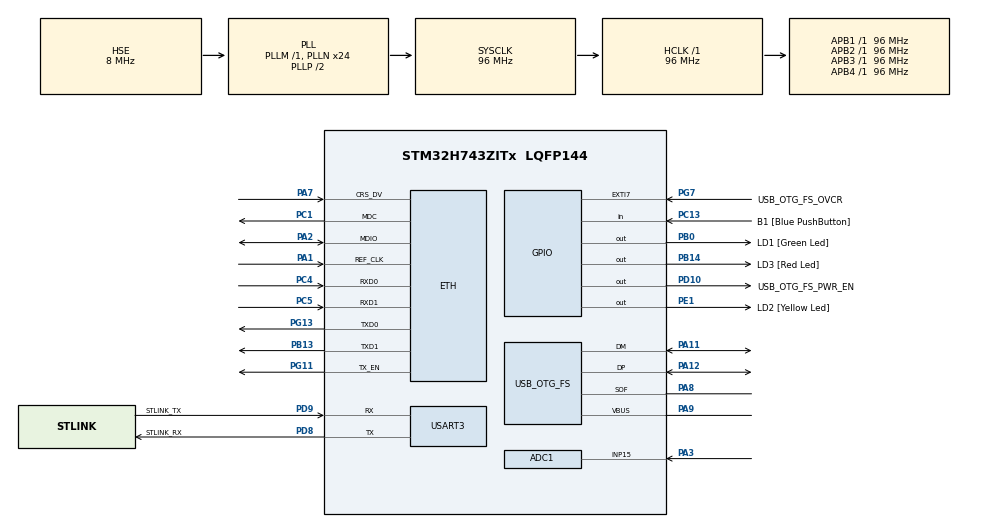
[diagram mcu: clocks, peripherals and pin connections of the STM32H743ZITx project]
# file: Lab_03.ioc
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ADC1.Channel-0\#ChannelRegularConversion=ADC_CHANNEL_15
ADC1.ConversionDataManagement=ADC_CONVERSIONDATA_DMA_ONESHOT
ADC1.ExternalTrigConv=ADC_EXTERNALTRIG_T1_TRGO
ADC1.NbrOfConversionFlag=1
ADC1.OffsetNumber-0\#ChannelRegularConversion=ADC_OFFSET_NONE
ADC1.OffsetSignedSaturation-0\#ChannelRegularConversion=DISABLE
ADC1.Rank-0\#ChannelRegularConversion=1
ADC1.SamplingTime-0\#ChannelRegularConversion=ADC_SAMPLETIME_1CYCLE_5
ADC1.master=1
Dma.ADC1.0.Direction=DMA_PERIPH_TO_MEMORY
Dma.ADC1.0.EventEnable=DISABLE
Dma.ADC1.0.FIFOMode=DMA_FIFOMODE_DISABLE
Dma.ADC1.0.Instance=DMA1_Stream0
Dma.ADC1.0.MemDataAlignment=DMA_MDATAALIGN_HALFWORD
Dma.ADC1.0.MemInc=DMA_MINC_ENABLE
Dma.ADC1.0.Mode=DMA_NORMAL
Dma.ADC1.0.PeriphDataAlignment=DMA_PDATAALIGN_HALFWORD
Dma.ADC1.0.PeriphInc=DMA_PINC_DISABLE
Dma.ADC1.0.Polarity=HAL_DMAMUX_REQ_GEN_RISING
Dma.ADC1.0.Priority=DMA_PRIORITY_LOW
Dma.ADC1.0.RequestNumber=1
Dma.ADC1.0.SignalID=NONE
Dma.ADC1.0.SyncEnable=DISABLE
Dma.ADC1.0.SyncPolarity=HAL_DMAMUX_SYNC_NO_EVENT
Dma.ADC1.0.SyncRequestNumber=1
Dma.ADC1.0.SyncSignalID=NONE
Dma.Request0=ADC1
ETH.MediaInterface=HAL_ETH_RMII_MODE
Mcu.Family=STM32H7
Mcu.Name=STM32H743ZITx
Mcu.Package=LQFP144
NVIC.DMA1_Stream0_IRQn=true\:0\:0\:false\:false\:true\:false\:true
NVIC.PriorityGroup=NVIC_PRIORITYGROUP_4
PA1.Mode=RMII
PA1.Signal=ETH_REF_CLK
PA11.Mode=Device_Only
PA11.Signal=USB_OTG_FS_DM
PA12.Mode=Device_Only
PA12.Signal=USB_OTG_FS_DP
PA2.Mode=RMII
PA2.Signal=ETH_MDIO
PA3.Signal=ADCx_INP15
PA7.Mode=RMII
PA7.Signal=ETH_CRS_DV
PA8.Mode=Activate_SOF_FS
PA8.Signal=USB_OTG_FS_SOF
PA9.Mode=Activate_VBUS
PA9.Signal=USB_OTG_FS_VBUS
PB0.GPIO_Label=LD1 [Green Led]
PB0.Signal=GPIO_Output
PB13.Mode=RMII
PB13.Signal=ETH_TXD1
PB14.GPIO_Label=LD3 [Red Led]
PB14.Signal=GPIO_Output
PC1.Mode=RMII
PC1.Signal=ETH_MDC
PC13.GPIO_Label=B1 [Blue PushButton]
PC13.Signal=GPIO_Input
PC14-OSC32_IN\ (OSC32_IN).Mode=LSE-External-Oscillator
PC14-OSC32_IN\ (OSC32_IN).Signal=RCC_OSC32_IN
PC15-OSC32_OUT\ (OSC32_OUT).Mode=LSE-External-Oscillator
PC15-OSC32_OUT\ (OSC32_OUT).Signal=RCC_OSC32_OUT
PC4.Mode=RMII
PC4.Signal=ETH_RXD0
PC5.Mode=RMII
PC5.Signal=ETH_RXD1
PD10.GPIO_Label=USB_OTG_FS_PWR_EN
PD10.Signal=GPIO_Output
PD8.GPIO_Label=STLINK_RX
PD8.Mode=Asynchronous
PD8.Signal=USART3_TX
PD9.GPIO_Label=STLINK_TX
PD9.Mode=Asynchronous
PD9.Signal=USART3_RX
PE1.GPIO_Label=LD2 [Yellow Led]
PE1.Signal=GPIO_Output
PG11.Mode=RMII
PG11.Signal=ETH_TX_EN
PG13.Mode=RMII
PG13.Signal=ETH_TXD0
PG7.GPIO_Label=USB_OTG_FS_OVCR
PG7.Signal=GPXTI7
PH0-OSC_IN\ (PH0).Mode=HSE-External-Clock-Source
PH0-OSC_IN\ (PH0).Signal=RCC_OSC_IN
PH1-OSC_OUT\ (PH1).Signal=RCC_OSC_OUT
ProjectManager.HeapSize=0x200
ProjectManager.StackSize=0x400
ProjectManager.TargetToolchain=STM32CubeIDE
RCC.ADCFreq_Value=50666666.666666664
RCC.APB1Freq_Value=96000000
RCC.APB2Freq_Value=96000000
RCC.APB3Freq_Value=96000000
RCC.APB4Freq_Value=96000000
RCC.CortexFreq_Value=96000000
RCC.DIVM1=1
RCC.DIVM2=1
RCC.DIVN1=24
RCC.DIVN2=19
RCC.DIVP2=3
RCC.DIVQ1=4
RCC.HCLKFreq_Value=96000000
RCC.HSE_VALUE=8000000
RCC.PLLFRACN=0
RCC.SYSCLKFreq_VALUE=96000000
RCC.SYSCLKSource=RCC_SYSCLKSOURCE_PLLCLK
RCC.USBFreq_Value=48000000
SH.ADCx_INP15.0=ADC1_INP15,IN15-Single-Ended
TIM1.Period=2000-1
TIM1.TIM_MasterOutputTrigger=TIM_TRGO_UPDATE
USART3.VirtualMode-Asynchronous=VM_ASYNC
USB_OTG_FS.VirtualMode=Device_Only
VP_TIM1_VS_ClockSourceINT.Mode=Internal
board=NUCLEO-H743ZI2

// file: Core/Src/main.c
/* USER CODE BEGIN Header */
/**
 ******************************************************************************
 * @file           : main.c
 * @brief          : Main program body
 ******************************************************************************
 * @attention
 *
 * <h2><center>&copy; Copyright (c) 2020 STMicroelectronics.
 * All rights reserved.</center></h2>
 *
 * This software component is licensed by ST under BSD 3-Clause license,
 * the "License"; You may not use this file except in compliance with the
 * License. You may obtain a copy of the License at:
 *                        opensource.org/licenses/BSD-3-Clause
 *
 ******************************************************************************
 */
/* USER CODE END Header */
#include <arm_math.h>
#include <stdio.h>
#include "main.h"
#include "string.h"
#include "math.h"

#if defined ( __ICCARM__ ) /*!< IAR Compiler */

#pragma location=0x30040000
ETH_DMADescTypeDef  DMARxDscrTab[ETH_RX_DESC_CNT]; /* Ethernet Rx DMA Descriptors */
#pragma location=0x30040060
ETH_DMADescTypeDef  DMATxDscrTab[ETH_TX_DESC_CNT]; /* Ethernet Tx DMA Descriptors */
#pragma location=0x30040200
uint8_t Rx_Buff[ETH_RX_DESC_CNT][ETH_MAX_PACKET_SIZE]; /* Ethernet Receive Buffers */

#elif defined ( __CC_ARM )  /* MDK ARM Compiler */

__attribute__((at(0x30040000))) ETH_DMADescTypeDef  DMARxDscrTab[ETH_RX_DESC_CNT]; /* Ethernet Rx DMA Descriptors */
__attribute__((at(0x30040060))) ETH_DMADescTypeDef  DMATxDscrTab[ETH_TX_DESC_CNT]; /* Ethernet Tx DMA Descriptors */
__attribute__((at(0x30040200))) uint8_t Rx_Buff[ETH_RX_DESC_CNT][ETH_MAX_PACKET_SIZE]; /* Ethernet Receive Buffer */

#elif defined ( __GNUC__ ) /* GNU Compiler */

ETH_DMADescTypeDef DMARxDscrTab[ETH_RX_DESC_CNT] __attribute__((section(".RxDecripSection"))); /* Ethernet Rx DMA Descriptors */
ETH_DMADescTypeDef DMATxDscrTab[ETH_TX_DESC_CNT] __attribute__((section(".TxDecripSection")));   /* Ethernet Tx DMA Descriptors */
uint8_t Rx_Buff[ETH_RX_DESC_CNT][ETH_MAX_PACKET_SIZE] __attribute__((section(".RxArraySection"))); /* Ethernet Receive Buffers */

#endif

ETH_TxPacketConfig TxConfig;
ADC_HandleTypeDef hadc1;
DMA_HandleTypeDef hdma_adc1;

ETH_HandleTypeDef heth;

TIM_HandleTypeDef htim1;

UART_HandleTypeDef huart3;

PCD_HandleTypeDef hpcd_USB_OTG_FS;

void SystemClock_Config(void);
static void MX_GPIO_Init(void);
static void MX_DMA_Init(void);
static void MX_ETH_Init(void);
static void MX_USART3_UART_Init(void);
static void MX_USB_OTG_FS_PCD_Init(void);
static void MX_ADC1_Init(void);
static void MX_TIM1_Init(void);
/* USER CODE BEGIN PFP */
void 				convert_to_complex(float input[64], float32_t* arr, int sample_length);
void 				print_peak(float32_t* arr, int sample_length);
void 				print_magnitude(float32_t* arr, int length);
void 				set_magnitude(float32_t* input, float32_t* output, int length);
void				transpose128(float32_t input[128][128]);
void				transpose64(float32_t input[64][64]);
int					get_d_f(int sample_num, int sample_f);
/* USER CODE END PFP */

/* USER CODE BEGIN 0 */
#define ARM_MATH_CM7
#define __FPU_PRESENT 1

#define ADC_BUF_SIZE_1024 1024
#define ADC_BUF_SIZE_256 	256
#define CMPLX_ARR_SIZE_0	2048
#define CMPLX_ARR_SIZE_1	512
#define CMPLX_ARR_SIZE_2	128

int record_done=0;

uint16_t 	ADC_buff_1024[ADC_BUF_SIZE_1024];
uint16_t 	ADC_buff_256[ADC_BUF_SIZE_256];
float32_t CMPLX_buff_1024[CMPLX_ARR_SIZE_0];
float32_t CMPLX_buff_256[CMPLX_ARR_SIZE_1];
float32_t CMPLX_buff_64[CMPLX_ARR_SIZE_2][CMPLX_ARR_SIZE_2];
float32_t MGNTD_buff_1024[ADC_BUF_SIZE_1024];
float32_t MGNTD_buff_256[ADC_BUF_SIZE_256];
float32_t MGNTD_buff_64[CMPLX_ARR_SIZE_2/2][CMPLX_ARR_SIZE_2/2];

float32_t sample;
float32_t mean;
/* USER CODE END 0 */

int main(void)
{

	/* MCU Configuration--------------------------------------------------------*/

	/* Reset of all peripherals, Initializes the Flash interface and the Systick. */

	HAL_Init();

	/* Configure the system clock */
	SystemClock_Config();

	/* Initialize all configured peripherals */
	MX_GPIO_Init();
	MX_DMA_Init();
	MX_ETH_Init();
	MX_USART3_UART_Init();
	MX_USB_OTG_FS_PCD_Init();
	MX_ADC1_Init();
	MX_TIM1_Init();
	/* USER CODE BEGIN 2 */
	if(HAL_ADCEx_Calibration_Start(&hadc1, ADC_CALIB_OFFSET,ADC_SINGLE_ENDED) != HAL_OK){
		Error_Handler();
	}
	HAL_TIM_Base_Start(&htim1);
	/* USER CODE END 2 */

	/* Infinite loop */
	while (1)
	{

		/* USER CODE BEGIN 3 */
		/*
		 * 	Part 1
		 */

		// Record samples
		if(HAL_ADC_Start_DMA(&hadc1, (uint32_t *)&ADC_buff_1024, ADC_BUF_SIZE_1024) != HAL_OK) {
			Error_Handler();
		}
		while (1)
		{
			if(record_done == 1){
				record_done = 0;
				break;
			}
		}

		// Print first 5 samples
		for (int i=0; i<5; i++)
		{
			printf("#%d: %d\n", i+1, ADC_buff_1024[i]);
			HAL_Delay(10);
		}
		// Plot sample
		for (int i=0; i<ADC_BUF_SIZE_1024; i++)
		{
			sample=ADC_buff_1024[i];
			HAL_Delay(10);
		}

		// Compute the array mean
		for (int i=0; i<ADC_BUF_SIZE_1024; i++)
		{
			mean += ADC_buff_1024[i];
		}
		mean /= ADC_BUF_SIZE_1024;
		// Subtract the array mean from each element
		for (int i=0; i<ADC_BUF_SIZE_1024; i++)
		{
			ADC_buff_1024[i] -= mean;
		}

		/*
		 * 	Part 2
		 */

		// FFT Instances
		arm_cfft_instance_f32 fft_handler_1024;
		arm_cfft_instance_f32 fft_handler_256;
		arm_cfft_init_f32(&fft_handler_1024, 1024);
		arm_cfft_init_f32(&fft_handler_256, 256);

		// Complex FFT of 3KHz sample
		convert_to_complex(ADC_buff_1024, CMPLX_buff_1024, 1024);
		// FFT of 3KHz sample
		arm_cfft_f32(&fft_handler_1024, CMPLX_buff_1024, 0, 1);
		// Print magnitude of FFT
		set_magnitude(CMPLX_buff_1024, MGNTD_buff_1024, 1024);
		print_magnitude(MGNTD_buff_1024, 1024);
		// Record sample of 4KHz sine wave
		if(HAL_ADC_Start_DMA(&hadc1, (uint32_t *)&ADC_buff_1024, ADC_BUF_SIZE_1024) != HAL_OK) {
			Error_Handler();
		}
		while (1)
		{
			if(record_done == 1){
				record_done = 0;
				break;
			}
		}

		// Complex FFT of 4KHz sample
		convert_to_complex(ADC_buff_1024, CMPLX_buff_1024, 1024);
		// FFT of 4KHz sample
		arm_cfft_f32(&fft_handler_1024, CMPLX_buff_1024, 0, 1);
		// Print magnitude of FFT
		set_magnitude(CMPLX_buff_1024, MGNTD_buff_1024, 1024);
		print_magnitude(MGNTD_buff_1024, 1024);

		// Record sample of 4KHz sine wave for 256 samples
		if(HAL_ADC_Start_DMA(&hadc1, (uint32_t *)&ADC_buff_256, ADC_BUF_SIZE_256) != HAL_OK) {
			Error_Handler();
		}
		while (1)
		{
			if(record_done == 1){
				record_done = 0;
				break;
			}
		}

		// Complex FFT of 4KHz sample for 256 samples
		convert_to_complex(ADC_buff_256, CMPLX_buff_256, 256);
		// FFT of 4KHz sample for 256 samples
		arm_cfft_f32(&fft_handler_256, CMPLX_buff_256, 0, 1);
		// Print magnitude of FFT
		set_magnitude(CMPLX_buff_256, MGNTD_buff_256, 256);
		print_magnitude(MGNTD_buff_256, 256);

		// Calculate delta f
		printf("delta f for %d samples: %d\n", 1024, get_d_f(1024, 48e3));
		printf("delta f for %d samples: %d\n", 1024, get_d_f(256, 48e3));

		// Print peak frequencies
		print_peak(MGNTD_buff_1024, 1024);
		print_peak(MGNTD_buff_256, 256);

		/*
		 * 	Part 3
		 */

		for (int i=0; i<2; i++)
		{
			// Record sample of 3/4KHz sine wave
			if(HAL_ADC_Start_DMA(&hadc1, (uint32_t *)&ADC_buff_1024, ADC_BUF_SIZE_1024) != HAL_OK) {
				Error_Handler();
			}
			while (1)
			{
				if(record_done == 1){
					record_done = 0;
					break;
				}
			}

			// Zero out the last 124 complex points of the ADC_buff
			for (int i=0; i<124; i++)
			{
				ADC_buff_1024[1023-i] = 0;
			}
			// Complex FFT of 3/4KHz sample with zero padding
			convert_to_complex(ADC_buff_1024, CMPLX_buff_1024, 1024);
			// FFT of 3/4KHz sample with zero padding
			arm_cfft_f32(&fft_handler_1024, CMPLX_buff_1024, 0, 1);
			// Print magnitude of FFT
			set_magnitude(CMPLX_buff_1024, MGNTD_buff_1024, 1024);
			print_magnitude(MGNTD_buff_1024, 1024);
		}

		/*
		 * 	Part 4
		 */

		// Record sample of 1KHz square wave
		if(HAL_ADC_Start_DMA(&hadc1, (uint32_t *)&ADC_buff_1024, ADC_BUF_SIZE_1024) != HAL_OK) {
			Error_Handler();
		}
		while (1)
		{
			if(record_done == 1){
				record_done = 0;
				break;
			}
		}

		// Complex FFT of 1KHz square wave
		convert_to_complex(ADC_buff_1024, CMPLX_buff_1024, 1024);
		// FFT of 1KHz square wave
		arm_cfft_f32(&fft_handler_1024, CMPLX_buff_1024, 0, 1);
		// Print magnitude of FFT
		set_magnitude(CMPLX_buff_1024, MGNTD_buff_1024, 1024);
		print_magnitude(MGNTD_buff_1024, 1024);

		/*
		 * 	Part 5
		 */

		// Image
		float img[64][64];
		// fill the image center (16x16) with ones
		for (int row=0; row<64; row++)
			for (int col=0; col<64; col++)
				img[row][col] = ((row > 23 && row < 40) && (col > 23 && col < 40)) ? 1 : 0;

		// FFT Instance
		arm_cfft_instance_f32 fft_handler_64;
		arm_cfft_init_f32(&fft_handler_64, 64);

		for (int row=0; row<64; row++)
		{
			// Perform row FFT
			convert_to_complex(img[row], CMPLX_buff_64[row], 64);
			arm_cfft_f32(&fft_handler_64, CMPLX_buff_64[row], 0, 1);
		}
		float32_t NEW[64][128];
		// Perform col FFT
		for (int col=0; col<64; col++)
		{
			float32_t arr[128];
			for (int i=0; i<64;i++)
			{
				arr[2*i]=CMPLX_buff_64[i][2*col];
				arr[2*i+1]=CMPLX_buff_64[i][2*col+1];
			}
			// Perform col FFT
			arm_cfft_f32(&fft_handler_64, arr, 0, 1);
			for (int i=0; i<64;i++)
			{
				NEW[col][2*i]=arr[2*i];
				NEW[col][2*i+1]=arr[2* 	i+1];
			}
		}
		// Assign magnitude values
		for (int row=0; row<64; row++)
		{
			// Set magnitude of FFT
			set_magnitude(NEW[row], MGNTD_buff_64[row], 64);
		}
		while(1);
	}
/* USER CODE END 3 */
}

void SystemClock_Config(void)
{
	RCC_OscInitTypeDef RCC_OscInitStruct = {0};
	RCC_ClkInitTypeDef RCC_ClkInitStruct = {0};
	RCC_PeriphCLKInitTypeDef PeriphClkInitStruct = {0};

	/** Supply configuration update enable
	 */
	HAL_PWREx_ConfigSupply(PWR_LDO_SUPPLY);
	/** Configure the main internal regulator output voltage
	 */
	__HAL_PWR_VOLTAGESCALING_CONFIG(PWR_REGULATOR_VOLTAGE_SCALE3);

	while(!__HAL_PWR_GET_FLAG(PWR_FLAG_VOSRDY)) {}
	/** Macro to configure the PLL clock source
	 */
	__HAL_RCC_PLL_PLLSOURCE_CONFIG(RCC_PLLSOURCE_HSE);
	/** Initializes the RCC Oscillators according to the specified parameters
	 * in the RCC_OscInitTypeDef structure.
	 */
	RCC_OscInitStruct.OscillatorType = RCC_OSCILLATORTYPE_HSE;
	RCC_OscInitStruct.HSEState = RCC_HSE_BYPASS;
	RCC_OscInitStruct.PLL.PLLState = RCC_PLL_ON;
	RCC_OscInitStruct.PLL.PLLSource = RCC_PLLSOURCE_HSE;
	RCC_OscInitStruct.PLL.PLLM = 1;
	RCC_OscInitStruct.PLL.PLLN = 24;
	RCC_OscInitStruct.PLL.PLLP = 2;
	RCC_OscInitStruct.PLL.PLLQ = 4;
	RCC_OscInitStruct.PLL.PLLR = 2;
	RCC_OscInitStruct.PLL.PLLRGE = RCC_PLL1VCIRANGE_3;
	RCC_OscInitStruct.PLL.PLLVCOSEL = RCC_PLL1VCOWIDE;
	RCC_OscInitStruct.PLL.PLLFRACN = 0;
	if (HAL_RCC_OscConfig(&RCC_OscInitStruct) != HAL_OK)
	{
		Error_Handler();
	}
	/** Initializes the CPU, AHB and APB buses clocks
	 */
	RCC_ClkInitStruct.ClockType = RCC_CLOCKTYPE_HCLK|RCC_CLOCKTYPE_SYSCLK
			|RCC_CLOCKTYPE_PCLK1|RCC_CLOCKTYPE_PCLK2
			|RCC_CLOCKTYPE_D3PCLK1|RCC_CLOCKTYPE_D1PCLK1;
	RCC_ClkInitStruct.SYSCLKSource = RCC_SYSCLKSOURCE_PLLCLK;
	RCC_ClkInitStruct.SYSCLKDivider = RCC_SYSCLK_DIV1;
	RCC_ClkInitStruct.AHBCLKDivider = RCC_HCLK_DIV1;
	RCC_ClkInitStruct.APB3CLKDivider = RCC_APB3_DIV1;
	RCC_ClkInitStruct.APB1CLKDivider = RCC_APB1_DIV1;
	RCC_ClkInitStruct.APB2CLKDivider = RCC_APB2_DIV1;
	RCC_ClkInitStruct.APB4CLKDivider = RCC_APB4_DIV1;

	if (HAL_RCC_ClockConfig(&RCC_ClkInitStruct, FLASH_LATENCY_1) != HAL_OK)
	{
		Error_Handler();
	}
	PeriphClkInitStruct.PeriphClockSelection = RCC_PERIPHCLK_USART3|RCC_PERIPHCLK_ADC
			|RCC_PERIPHCLK_USB;
	PeriphClkInitStruct.PLL2.PLL2M = 1;
	PeriphClkInitStruct.PLL2.PLL2N = 19;
	PeriphClkInitStruct.PLL2.PLL2P = 3;
	PeriphClkInitStruct.PLL2.PLL2Q = 2;
	PeriphClkInitStruct.PLL2.PLL2R = 2;
	PeriphClkInitStruct.PLL2.PLL2RGE = RCC_PLL2VCIRANGE_3;
	PeriphClkInitStruct.PLL2.PLL2VCOSEL = RCC_PLL2VCOMEDIUM;
	PeriphClkInitStruct.PLL2.PLL2FRACN = 0;
	PeriphClkInitStruct.Usart234578ClockSelection = RCC_USART234578CLKSOURCE_D2PCLK1;
	PeriphClkInitStruct.UsbClockSelection = RCC_USBCLKSOURCE_PLL;
	PeriphClkInitStruct.AdcClockSelection = RCC_ADCCLKSOURCE_PLL2;
	if (HAL_RCCEx_PeriphCLKConfig(&PeriphClkInitStruct) != HAL_OK)
	{
		Error_Handler();
	}
	/** Enable USB Voltage detector
	 */
	HAL_PWREx_EnableUSBVoltageDetector();
}

static void MX_ADC1_Init(void)
{

	ADC_MultiModeTypeDef multimode = {0};
	ADC_ChannelConfTypeDef sConfig = {0};

	/** Common config
	 */
	hadc1.Instance = ADC1;
	hadc1.Init.ClockPrescaler = ADC_CLOCK_ASYNC_DIV1;
	hadc1.Init.Resolution = ADC_RESOLUTION_16B;
	hadc1.Init.ScanConvMode = ADC_SCAN_DISABLE;
	hadc1.Init.EOCSelection = ADC_EOC_SINGLE_CONV;
	hadc1.Init.LowPowerAutoWait = DISABLE;
	hadc1.Init.ContinuousConvMode = DISABLE;
	hadc1.Init.NbrOfConversion = 1;
	hadc1.Init.DiscontinuousConvMode = DISABLE;
	hadc1.Init.ExternalTrigConv = ADC_EXTERNALTRIG_T1_TRGO;
	hadc1.Init.ExternalTrigConvEdge = ADC_EXTERNALTRIGCONVEDGE_RISING;
	hadc1.Init.ConversionDataManagement = ADC_CONVERSIONDATA_DMA_ONESHOT;
	hadc1.Init.Overrun = ADC_OVR_DATA_PRESERVED;
	hadc1.Init.LeftBitShift = ADC_LEFTBITSHIFT_NONE;
	hadc1.Init.OversamplingMode = DISABLE;
	if (HAL_ADC_Init(&hadc1) != HAL_OK)
	{
		Error_Handler();
	}
	/** Configure the ADC multi-mode
	 */
	multimode.Mode = ADC_MODE_INDEPENDENT;
	if (HAL_ADCEx_MultiModeConfigChannel(&hadc1, &multimode) != HAL_OK)
	{
		Error_Handler();
	}
	/** Configure Regular Channel
	 */
	sConfig.Channel = ADC_CHANNEL_15;
	sConfig.Rank = ADC_REGULAR_RANK_1;
	sConfig.SamplingTime = ADC_SAMPLETIME_1CYCLE_5;
	sConfig.SingleDiff = ADC_SINGLE_ENDED;
	sConfig.OffsetNumber = ADC_OFFSET_NONE;
	sConfig.Offset = 0;
	sConfig.OffsetSignedSaturation = DISABLE;
	if (HAL_ADC_ConfigChannel(&hadc1, &sConfig) != HAL_OK)
	{
		Error_Handler();
	}

}

static void MX_ETH_Init(void)
{

	heth.Instance = ETH;
	heth.Init.MACAddr[0] =   0x00;
	heth.Init.MACAddr[1] =   0x80;
	heth.Init.MACAddr[2] =   0xE1;
	heth.Init.MACAddr[3] =   0x00;
	heth.Init.MACAddr[4] =   0x00;
	heth.Init.MACAddr[5] =   0x00;
	heth.Init.MediaInterface = HAL_ETH_RMII_MODE;
	heth.Init.TxDesc = DMATxDscrTab;
	heth.Init.RxDesc = DMARxDscrTab;
	heth.Init.RxBuffLen = 1524;

	if (HAL_ETH_Init(&heth) != HAL_OK)
	{
		Error_Handler();
	}

	memset(&TxConfig, 0 , sizeof(ETH_TxPacketConfig));
	TxConfig.Attributes = ETH_TX_PACKETS_FEATURES_CSUM | ETH_TX_PACKETS_FEATURES_CRCPAD;
	TxConfig.ChecksumCtrl = ETH_CHECKSUM_IPHDR_PAYLOAD_INSERT_PHDR_CALC;
	TxConfig.CRCPadCtrl = ETH_CRC_PAD_INSERT;

}

static void MX_TIM1_Init(void)
{

	TIM_ClockConfigTypeDef sClockSourceConfig = {0};
	TIM_MasterConfigTypeDef sMasterConfig = {0};

	htim1.Instance = TIM1;
	htim1.Init.Prescaler = 0;
	htim1.Init.CounterMode = TIM_COUNTERMODE_UP;
	htim1.Init.Period = 2000-1;
	htim1.Init.ClockDivision = TIM_CLOCKDIVISION_DIV1;
	htim1.Init.RepetitionCounter = 0;
	htim1.Init.AutoReloadPreload = TIM_AUTORELOAD_PRELOAD_DISABLE;
	if (HAL_TIM_Base_Init(&htim1) != HAL_OK)
	{
		Error_Handler();
	}
	sClockSourceConfig.ClockSource = TIM_CLOCKSOURCE_INTERNAL;
	if (HAL_TIM_ConfigClockSource(&htim1, &sClockSourceConfig) != HAL_OK)
	{
		Error_Handler();
	}
	sMasterConfig.MasterOutputTrigger = TIM_TRGO_UPDATE;
	sMasterConfig.MasterOutputTrigger2 = TIM_TRGO2_RESET;
	sMasterConfig.MasterSlaveMode = TIM_MASTERSLAVEMODE_DISABLE;
	if (HAL_TIMEx_MasterConfigSynchronization(&htim1, &sMasterConfig) != HAL_OK)
	{
		Error_Handler();
	}

}

static void MX_USART3_UART_Init(void)
{

	huart3.Instance = USART3;
	huart3.Init.BaudRate = 115200;
	huart3.Init.WordLength = UART_WORDLENGTH_8B;
	huart3.Init.StopBits = UART_STOPBITS_1;
	huart3.Init.Parity = UART_PARITY_NONE;
	huart3.Init.Mode = UART_MODE_TX_RX;
	huart3.Init.HwFlowCtl = UART_HWCONTROL_NONE;
	huart3.Init.OverSampling = UART_OVERSAMPLING_16;
	huart3.Init.OneBitSampling = UART_ONE_BIT_SAMPLE_DISABLE;
	huart3.Init.ClockPrescaler = UART_PRESCALER_DIV1;
	huart3.AdvancedInit.AdvFeatureInit = UART_ADVFEATURE_NO_INIT;
	if (HAL_UART_Init(&huart3) != HAL_OK)
	{
		Error_Handler();
	}
	if (HAL_UARTEx_SetTxFifoThreshold(&huart3, UART_TXFIFO_THRESHOLD_1_8) != HAL_OK)
	{
		Error_Handler();
	}
	if (HAL_UARTEx_SetRxFifoThreshold(&huart3, UART_RXFIFO_THRESHOLD_1_8) != HAL_OK)
	{
		Error_Handler();
	}
	if (HAL_UARTEx_DisableFifoMode(&huart3) != HAL_OK)
	{
		Error_Handler();
	}

}

static void MX_USB_OTG_FS_PCD_Init(void)
{

	hpcd_USB_OTG_FS.Instance = USB_OTG_FS;
	hpcd_USB_OTG_FS.Init.dev_endpoints = 9;
	hpcd_USB_OTG_FS.Init.speed = PCD_SPEED_FULL;
	hpcd_USB_OTG_FS.Init.dma_enable = DISABLE;
	hpcd_USB_OTG_FS.Init.phy_itface = PCD_PHY_EMBEDDED;
	hpcd_USB_OTG_FS.Init.Sof_enable = ENABLE;
	hpcd_USB_OTG_FS.Init.low_power_enable = DISABLE;
	hpcd_USB_OTG_FS.Init.lpm_enable = DISABLE;
	hpcd_USB_OTG_FS.Init.battery_charging_enable = ENABLE;
	hpcd_USB_OTG_FS.Init.vbus_sensing_enable = ENABLE;
	hpcd_USB_OTG_FS.Init.use_dedicated_ep1 = DISABLE;
	if (HAL_PCD_Init(&hpcd_USB_OTG_FS) != HAL_OK)
	{
		Error_Handler();
	}

}

static void MX_DMA_Init(void)
{

	/* DMA controller clock enable */
	__HAL_RCC_DMA1_CLK_ENABLE();

	/* DMA interrupt init */
	/* DMA1_Stream0_IRQn interrupt configuration */
	HAL_NVIC_SetPriority(DMA1_Stream0_IRQn, 0, 0);
	HAL_NVIC_EnableIRQ(DMA1_Stream0_IRQn);

}

static void MX_GPIO_Init(void)
{
	GPIO_InitTypeDef GPIO_InitStruct = {0};

	/* GPIO Ports Clock Enable */
	__HAL_RCC_GPIOC_CLK_ENABLE();
	__HAL_RCC_GPIOH_CLK_ENABLE();
	__HAL_RCC_GPIOA_CLK_ENABLE();
	__HAL_RCC_GPIOB_CLK_ENABLE();
	__HAL_RCC_GPIOD_CLK_ENABLE();
	__HAL_RCC_GPIOG_CLK_ENABLE();
	__HAL_RCC_GPIOE_CLK_ENABLE();

	/*Configure GPIO pin Output Level */
	HAL_GPIO_WritePin(GPIOB, LD1_Pin|LD3_Pin, GPIO_PIN_RESET);

	/*Configure GPIO pin Output Level */
	HAL_GPIO_WritePin(USB_OTG_FS_PWR_EN_GPIO_Port, USB_OTG_FS_PWR_EN_Pin, GPIO_PIN_RESET);

	/*Configure GPIO pin Output Level */
	HAL_GPIO_WritePin(LD2_GPIO_Port, LD2_Pin, GPIO_PIN_RESET);

	/*Configure GPIO pin : B1_Pin */
	GPIO_InitStruct.Pin = B1_Pin;
	GPIO_InitStruct.Mode = GPIO_MODE_INPUT;
	GPIO_InitStruct.Pull = GPIO_NOPULL;
	HAL_GPIO_Init(B1_GPIO_Port, &GPIO_InitStruct);

	/*Configure GPIO pins : LD1_Pin LD3_Pin */
	GPIO_InitStruct.Pin = LD1_Pin|LD3_Pin;
	GPIO_InitStruct.Mode = GPIO_MODE_OUTPUT_PP;
	GPIO_InitStruct.Pull = GPIO_NOPULL;
	GPIO_InitStruct.Speed = GPIO_SPEED_FREQ_LOW;
	HAL_GPIO_Init(GPIOB, &GPIO_InitStruct);

	/*Configure GPIO pin : USB_OTG_FS_PWR_EN_Pin */
	GPIO_InitStruct.Pin = USB_OTG_FS_PWR_EN_Pin;
	GPIO_InitStruct.Mode = GPIO_MODE_OUTPUT_PP;
	GPIO_InitStruct.Pull = GPIO_NOPULL;
	GPIO_InitStruct.Speed = GPIO_SPEED_FREQ_LOW;
	HAL_GPIO_Init(USB_OTG_FS_PWR_EN_GPIO_Port, &GPIO_InitStruct);

	/*Configure GPIO pin : USB_OTG_FS_OVCR_Pin */
	GPIO_InitStruct.Pin = USB_OTG_FS_OVCR_Pin;
	GPIO_InitStruct.Mode = GPIO_MODE_IT_RISING;
	GPIO_InitStruct.Pull = GPIO_NOPULL;
	HAL_GPIO_Init(USB_OTG_FS_OVCR_GPIO_Port, &GPIO_InitStruct);

	/*Configure GPIO pin : LD2_Pin */
	GPIO_InitStruct.Pin = LD2_Pin;
	GPIO_InitStruct.Mode = GPIO_MODE_OUTPUT_PP;
	GPIO_InitStruct.Pull = GPIO_NOPULL;
	GPIO_InitStruct.Speed = GPIO_SPEED_FREQ_LOW;
	HAL_GPIO_Init(LD2_GPIO_Port, &GPIO_InitStruct);

}

/* USER CODE BEGIN 4 */
void convert_to_complex(float input[64], float32_t* output, int sample_length)
{
	for (int i=0; i<sample_length*2; i++)
	{
		output[i] = (i%2 == 0) ? input[i/2] : 0;
	}
}

void print_peak(float32_t* input, int sample_length)
{
	int curr_val = 0, max_val = 0, peak = 0;
	for (int i=1; i<sample_length/2; i++)
	{
		curr_val = input[2*i];
		if (curr_val > max_val)
		{
			max_val = curr_val;
			peak = i;
		}
	}
	printf("Array length(%d): %.0f\n", sample_length, (48e3/sample_length*2*peak));
}

void print_magnitude(float32_t* input, int length)
{
	// Print magnitude of fft
	for (int i=1; i<length; i++)
	{
		sample=input[i];
		HAL_Delay(10);
	}
}

void set_magnitude(float32_t* input, float32_t* output, int length)
{
	// Set magnitude of fft
	for (int i=0; i<length; i++)
	{
		output[i]=sqrtf(powf(input[2*i],2)+powf(input[2*i+1],2));
	}
}

void transpose128(float32_t input[128][128])
{
	// Copy of input matrix
	float32_t copy[128][128];
	// Copy the input elements
	for (int row=0; row<128; row++)
	{
		for (int col=0; col<128; col++)
		{
			copy[row][col]=input[row][col];
		}
	}
	// Transpose operation
	for (int row=0; row<64; row++)
	{
		for (int col=0; col<64; col++)
		{
			// Real
			input[2*row][2*col]=copy[2*col][2*row];
			// Complex
			input[2*row][2*col+1]=copy[2*col+1][2*row];
		}
	}
}

void transpose64(float32_t input[64][64])
{
	// Copy of input matrix
	float32_t copy[64][64];
	// Copy the input elements
	for (int row=0; row<64; row++)
	{
		for (int col=0; col<64; col++)
		{
			copy[row][col]=input[row][col];
		}
	}
	// Transpose operation
	for (int row=0; row<64; row++)
	{
		for (int col=0; col<64; col++)
		{
			input[row][col]=copy[col][row];
		}
	}
}

int get_d_f(int sample_num, int sample_f)
{
	return sample_f/sample_num;
}

void HAL_ADC_ConvCpltCallback(ADC_HandleTypeDef *hadc){
	if(HAL_ADC_Stop_DMA(&hadc1) != HAL_OK){
		Error_Handler();
	}
	record_done = 1;
}

int _write(int file, char *ptr, int len)
{
	/* Implement your write code here, this is used by puts and printf for example */
	int i=0;
	for(i=0 ; i<len ; i++)
		ITM_SendChar((*ptr++));
	return len;
}
/* USER CODE END 4 */

void Error_Handler(void)
{
}

/************************ (C) COPYRIGHT STMicroelectronics *****END OF FILE****/
